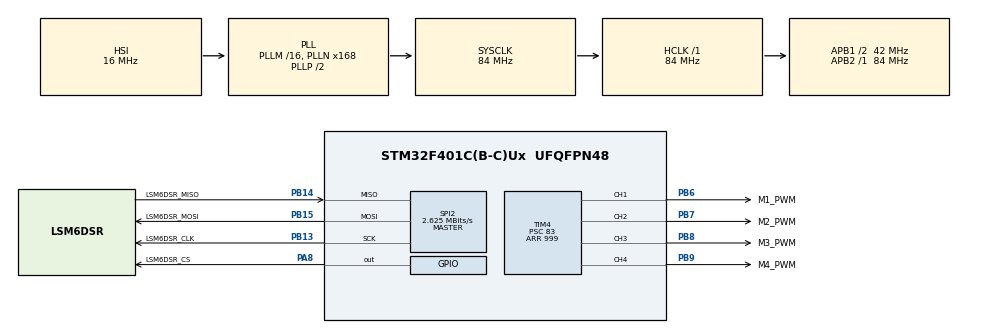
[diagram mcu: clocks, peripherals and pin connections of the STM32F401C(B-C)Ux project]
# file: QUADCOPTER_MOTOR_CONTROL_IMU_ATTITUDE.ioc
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Mcu.Family=STM32F4
Mcu.Name=STM32F401C(B-C)Ux
Mcu.Package=UFQFPN48
NVIC.PriorityGroup=NVIC_PRIORITYGROUP_4
NVIC.TIM3_IRQn=true\:0\:0\:false\:false\:true\:true\:true\:true
PA8.GPIO_Label=LSM6DSR_CS
PA8.GPIO_PuPd=GPIO_PULLUP
PA8.PinState=GPIO_PIN_SET
PA8.Signal=GPIO_Output
PB13.GPIO_Label=LSM6DSR_CLK
PB13.Mode=Full_Duplex_Master
PB13.Signal=SPI2_SCK
PB14.GPIO_Label=LSM6DSR_MISO
PB14.Mode=Full_Duplex_Master
PB14.Signal=SPI2_MISO
PB15.GPIO_Label=LSM6DSR_MOSI
PB15.Mode=Full_Duplex_Master
PB15.Signal=SPI2_MOSI
PB6.GPIO_Label=M1_PWM
PB6.Signal=S_TIM4_CH1
PB7.GPIO_Label=M2_PWM
PB7.Signal=S_TIM4_CH2
PB8.GPIO_Label=M3_PWM
PB8.Signal=S_TIM4_CH3
PB9.GPIO_Label=M4_PWM
PB9.Signal=S_TIM4_CH4
ProjectManager.HeapSize=0x200
ProjectManager.StackSize=0x400
ProjectManager.TargetToolchain=STM32CubeIDE
RCC.48MHZClocksFreq_Value=42000000
RCC.AHBFreq_Value=84000000
RCC.APB1CLKDivider=RCC_HCLK_DIV2
RCC.APB1Freq_Value=42000000
RCC.APB1TimFreq_Value=84000000
RCC.APB2Freq_Value=84000000
RCC.APB2TimFreq_Value=84000000
RCC.CortexFreq_Value=84000000
RCC.HCLKFreq_Value=84000000
RCC.HSE_VALUE=25000000
RCC.HSI_VALUE=16000000
RCC.LSE_VALUE=32768
RCC.PLLN=168
RCC.SYSCLKFreq_VALUE=84000000
RCC.SYSCLKSource=RCC_SYSCLKSOURCE_PLLCLK
RCC.VCOOutputFreq_Value=168000000
SH.S_TIM4_CH1.0=TIM4_CH1,PWM Generation1 CH1
SH.S_TIM4_CH2.0=TIM4_CH2,PWM Generation2 CH2
SH.S_TIM4_CH3.0=TIM4_CH3,PWM Generation3 CH3
SH.S_TIM4_CH4.0=TIM4_CH4,PWM Generation4 CH4
SPI2.BaudRatePrescaler=SPI_BAUDRATEPRESCALER_16
SPI2.CalculateBaudRate=2.625 MBits/s
SPI2.Direction=SPI_DIRECTION_2LINES
SPI2.Mode=SPI_MODE_MASTER
SPI2.VirtualType=VM_MASTER
STMicroelectronics.X-CUBE-ALGOBUILD.1.4.0.LibraryCcDSPOoLibraryJjDSPOoLibrary=true
TIM3.Period=1999
TIM3.Prescaler=83
TIM4.Channel-PWM\ Generation1\ CH1=TIM_CHANNEL_1
TIM4.Channel-PWM\ Generation2\ CH2=TIM_CHANNEL_2
TIM4.Channel-PWM\ Generation3\ CH3=TIM_CHANNEL_3
TIM4.Channel-PWM\ Generation4\ CH4=TIM_CHANNEL_4
TIM4.Period=999
TIM4.Prescaler=83
VP_STMicroelectronics.X-CUBE-ALGOBUILD_VS_DSPOoLibraryJjLibrary_1.4.0_1.4.0.Mode=DSPOoLibraryJjLibrary
VP_TIM3_VS_ClockSourceINT.Mode=Internal
VP_TIM4_VS_ClockSourceINT.Mode=Internal
board=custom

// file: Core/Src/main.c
/* USER CODE BEGIN Header */
/**
  ******************************************************************************
  * @file           : main.c
  * @brief          : Main program body
  ******************************************************************************
  * @attention
  *
  * Copyright (c) 2025 STMicroelectronics.
  * All rights reserved.
  *
  * This software is licensed under terms that can be found in the LICENSE file
  * in the root directory of this software component.
  * If no LICENSE file comes with this software, it is provided AS-IS.
  *
  ******************************************************************************
  */
/* USER CODE END Header */
#include "main.h"

/* USER CODE BEGIN Includes */
#include "motor_drone.h"
#include "LSM6DSR.h"
#include "imu_data.h"
#include "euler_angles.h"
/* USER CODE END Includes */

SPI_HandleTypeDef hspi2;

TIM_HandleTypeDef htim3;
TIM_HandleTypeDef htim4;

/* USER CODE BEGIN PV */
MotorDroneHandler motor_drone =
{
		.motor1_ch = TIM_CHANNEL_1,
		.motor2_ch = TIM_CHANNEL_2,
		.motor3_ch = TIM_CHANNEL_3,
		.motor4_ch = TIM_CHANNEL_4,
		.timer = &htim4,
		};
lsm6dsr_handler imu_sensor =
{
		.spi_imu = &hspi2,
		.gpio_cs_pin = LSM6DSR_CS_Pin ,
		.gpio_cs_port = LSM6DSR_CS_GPIO_Port,
};

static imu_norm imu_norm_data;
static euler_angles euler_angles_robot;
/* USER CODE END PV */

void SystemClock_Config(void);
static void MX_GPIO_Init(void);
static void MX_TIM4_Init(void);
static void MX_SPI2_Init(void);
static void MX_TIM3_Init(void);

/* USER CODE BEGIN 0 */
void HAL_TIM_PeriodElapsedCallback(TIM_HandleTypeDef *htim)
{
	if(htim == &htim3)
	{
		lsm6dsr_read_data(&imu_sensor);
		sensor2imu_lsm6dsr(imu_sensor, &imu_norm_data);
		complementary_filter_euler(imu_norm_data,  &euler_angles_robot);
	}
}
/* USER CODE END 0 */

int main(void)
{

  /* MCU Configuration--------------------------------------------------------*/

  /* Reset of all peripherals, Initializes the Flash interface and the Systick. */
  HAL_Init();

  /* Configure the system clock */
  SystemClock_Config();

  /* Initialize all configured peripherals */
  MX_GPIO_Init();
  MX_TIM4_Init();
  MX_SPI2_Init();
  MX_TIM3_Init();
  /* USER CODE BEGIN 2 */
  HAL_Delay(1000);
  lsm6dsr_init(&imu_sensor, 1000);
  HAL_TIM_Base_Start_IT(&htim3);
//  set_motor_voltage(&motor_drone, MOTOR_1, 20.0);
//  set_motor_voltage(&motor_drone, MOTOR_2, 20.0);
//  set_motor_voltage(&motor_drone, MOTOR_3, 20.0);
//  set_motor_voltage(&motor_drone, MOTOR_4, 20.0);
//  uint8_t temp_data = 0x0f|0x80;
//  HAL_GPIO_WritePin(LSM6DSR_CS_GPIO_Port, LSM6DSR_CS_Pin,
//  			GPIO_PIN_RESET);
//  HAL_SPI_Transmit(&hspi2, &temp_data , 1, 100);
//  HAL_SPI_Receive(&hspi2, &temp_data, 1, 100);
//  HAL_GPIO_WritePin(LSM6DSR_CS_GPIO_Port, LSM6DSR_CS_Pin,
//    			GPIO_PIN_SET);
  /* USER CODE END 2 */

  /* Infinite loop */
  while (1)
  {

  }
}

void SystemClock_Config(void)
{
  RCC_OscInitTypeDef RCC_OscInitStruct = {0};
  RCC_ClkInitTypeDef RCC_ClkInitStruct = {0};

  /** Configure the main internal regulator output voltage
  */
  __HAL_RCC_PWR_CLK_ENABLE();
  __HAL_PWR_VOLTAGESCALING_CONFIG(PWR_REGULATOR_VOLTAGE_SCALE2);

  /** Initializes the RCC Oscillators according to the specified parameters
  * in the RCC_OscInitTypeDef structure.
  */
  RCC_OscInitStruct.OscillatorType = RCC_OSCILLATORTYPE_HSI;
  RCC_OscInitStruct.HSIState = RCC_HSI_ON;
  RCC_OscInitStruct.HSICalibrationValue = RCC_HSICALIBRATION_DEFAULT;
  RCC_OscInitStruct.PLL.PLLState = RCC_PLL_ON;
  RCC_OscInitStruct.PLL.PLLSource = RCC_PLLSOURCE_HSI;
  RCC_OscInitStruct.PLL.PLLM = 16;
  RCC_OscInitStruct.PLL.PLLN = 168;
  RCC_OscInitStruct.PLL.PLLP = RCC_PLLP_DIV2;
  RCC_OscInitStruct.PLL.PLLQ = 4;
  if (HAL_RCC_OscConfig(&RCC_OscInitStruct) != HAL_OK)
  {
    Error_Handler();
  }

  /** Initializes the CPU, AHB and APB buses clocks
  */
  RCC_ClkInitStruct.ClockType = RCC_CLOCKTYPE_HCLK|RCC_CLOCKTYPE_SYSCLK
                              |RCC_CLOCKTYPE_PCLK1|RCC_CLOCKTYPE_PCLK2;
  RCC_ClkInitStruct.SYSCLKSource = RCC_SYSCLKSOURCE_PLLCLK;
  RCC_ClkInitStruct.AHBCLKDivider = RCC_SYSCLK_DIV1;
  RCC_ClkInitStruct.APB1CLKDivider = RCC_HCLK_DIV2;
  RCC_ClkInitStruct.APB2CLKDivider = RCC_HCLK_DIV1;

  if (HAL_RCC_ClockConfig(&RCC_ClkInitStruct, FLASH_LATENCY_2) != HAL_OK)
  {
    Error_Handler();
  }
}

static void MX_SPI2_Init(void)
{

  /* SPI2 parameter configuration*/
  hspi2.Instance = SPI2;
  hspi2.Init.Mode = SPI_MODE_MASTER;
  hspi2.Init.Direction = SPI_DIRECTION_2LINES;
  hspi2.Init.DataSize = SPI_DATASIZE_8BIT;
  hspi2.Init.CLKPolarity = SPI_POLARITY_LOW;
  hspi2.Init.CLKPhase = SPI_PHASE_1EDGE;
  hspi2.Init.NSS = SPI_NSS_SOFT;
  hspi2.Init.BaudRatePrescaler = SPI_BAUDRATEPRESCALER_16;
  hspi2.Init.FirstBit = SPI_FIRSTBIT_MSB;
  hspi2.Init.TIMode = SPI_TIMODE_DISABLE;
  hspi2.Init.CRCCalculation = SPI_CRCCALCULATION_DISABLE;
  hspi2.Init.CRCPolynomial = 10;
  if (HAL_SPI_Init(&hspi2) != HAL_OK)
  {
    Error_Handler();
  }

}

static void MX_TIM3_Init(void)
{

  TIM_ClockConfigTypeDef sClockSourceConfig = {0};
  TIM_MasterConfigTypeDef sMasterConfig = {0};

  htim3.Instance = TIM3;
  htim3.Init.Prescaler = 83;
  htim3.Init.CounterMode = TIM_COUNTERMODE_UP;
  htim3.Init.Period = 1999;
  htim3.Init.ClockDivision = TIM_CLOCKDIVISION_DIV1;
  htim3.Init.AutoReloadPreload = TIM_AUTORELOAD_PRELOAD_DISABLE;
  if (HAL_TIM_Base_Init(&htim3) != HAL_OK)
  {
    Error_Handler();
  }
  sClockSourceConfig.ClockSource = TIM_CLOCKSOURCE_INTERNAL;
  if (HAL_TIM_ConfigClockSource(&htim3, &sClockSourceConfig) != HAL_OK)
  {
    Error_Handler();
  }
  sMasterConfig.MasterOutputTrigger = TIM_TRGO_RESET;
  sMasterConfig.MasterSlaveMode = TIM_MASTERSLAVEMODE_DISABLE;
  if (HAL_TIMEx_MasterConfigSynchronization(&htim3, &sMasterConfig) != HAL_OK)
  {
    Error_Handler();
  }

}

static void MX_TIM4_Init(void)
{

  TIM_ClockConfigTypeDef sClockSourceConfig = {0};
  TIM_MasterConfigTypeDef sMasterConfig = {0};
  TIM_OC_InitTypeDef sConfigOC = {0};

  htim4.Instance = TIM4;
  htim4.Init.Prescaler = 83;
  htim4.Init.CounterMode = TIM_COUNTERMODE_UP;
  htim4.Init.Period = 999;
  htim4.Init.ClockDivision = TIM_CLOCKDIVISION_DIV1;
  htim4.Init.AutoReloadPreload = TIM_AUTORELOAD_PRELOAD_DISABLE;
  if (HAL_TIM_Base_Init(&htim4) != HAL_OK)
  {
    Error_Handler();
  }
  sClockSourceConfig.ClockSource = TIM_CLOCKSOURCE_INTERNAL;
  if (HAL_TIM_ConfigClockSource(&htim4, &sClockSourceConfig) != HAL_OK)
  {
    Error_Handler();
  }
  if (HAL_TIM_PWM_Init(&htim4) != HAL_OK)
  {
    Error_Handler();
  }
  sMasterConfig.MasterOutputTrigger = TIM_TRGO_RESET;
  sMasterConfig.MasterSlaveMode = TIM_MASTERSLAVEMODE_DISABLE;
  if (HAL_TIMEx_MasterConfigSynchronization(&htim4, &sMasterConfig) != HAL_OK)
  {
    Error_Handler();
  }
  sConfigOC.OCMode = TIM_OCMODE_PWM1;
  sConfigOC.Pulse = 0;
  sConfigOC.OCPolarity = TIM_OCPOLARITY_HIGH;
  sConfigOC.OCFastMode = TIM_OCFAST_DISABLE;
  if (HAL_TIM_PWM_ConfigChannel(&htim4, &sConfigOC, TIM_CHANNEL_1) != HAL_OK)
  {
    Error_Handler();
  }
  if (HAL_TIM_PWM_ConfigChannel(&htim4, &sConfigOC, TIM_CHANNEL_2) != HAL_OK)
  {
    Error_Handler();
  }
  if (HAL_TIM_PWM_ConfigChannel(&htim4, &sConfigOC, TIM_CHANNEL_3) != HAL_OK)
  {
    Error_Handler();
  }
  if (HAL_TIM_PWM_ConfigChannel(&htim4, &sConfigOC, TIM_CHANNEL_4) != HAL_OK)
  {
    Error_Handler();
  }
  /* USER CODE BEGIN TIM4_Init 2 */
  HAL_TIM_Base_Start(&htim4);
    HAL_TIM_PWM_Start(&htim4, TIM_CHANNEL_1);
    HAL_TIM_PWM_Start(&htim4, TIM_CHANNEL_2);
    HAL_TIM_PWM_Start(&htim4, TIM_CHANNEL_3);
    HAL_TIM_PWM_Start(&htim4, TIM_CHANNEL_4);
  /* USER CODE END TIM4_Init 2 */
  HAL_TIM_MspPostInit(&htim4);

}

static void MX_GPIO_Init(void)
{
  GPIO_InitTypeDef GPIO_InitStruct = {0};

  /* GPIO Ports Clock Enable */
  __HAL_RCC_GPIOB_CLK_ENABLE();
  __HAL_RCC_GPIOA_CLK_ENABLE();

  /*Configure GPIO pin Output Level */
  HAL_GPIO_WritePin(LSM6DSR_CS_GPIO_Port, LSM6DSR_CS_Pin, GPIO_PIN_SET);

  /*Configure GPIO pin : LSM6DSR_CS_Pin */
  GPIO_InitStruct.Pin = LSM6DSR_CS_Pin;
  GPIO_InitStruct.Mode = GPIO_MODE_OUTPUT_PP;
  GPIO_InitStruct.Pull = GPIO_PULLUP;
  GPIO_InitStruct.Speed = GPIO_SPEED_FREQ_LOW;
  HAL_GPIO_Init(LSM6DSR_CS_GPIO_Port, &GPIO_InitStruct);

}

void Error_Handler(void)
{
  __disable_irq();
  while (1)
  {
  }
}
